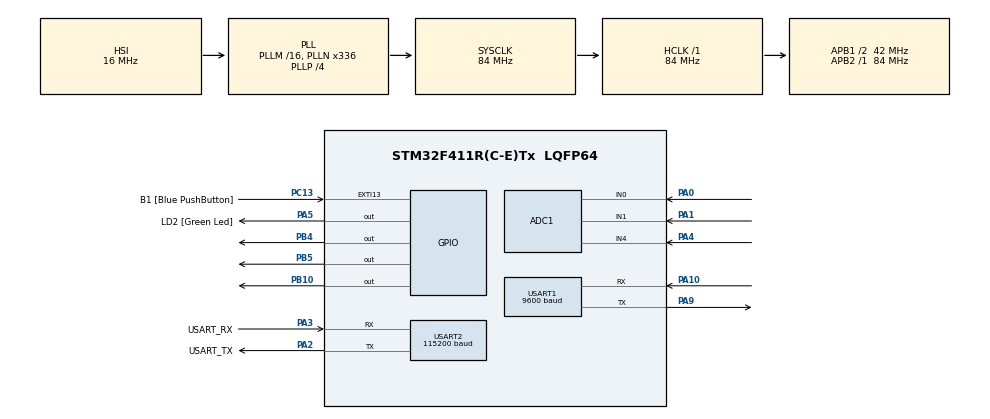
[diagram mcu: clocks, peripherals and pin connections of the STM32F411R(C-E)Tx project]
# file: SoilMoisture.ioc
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ADC1.Channel-5\#ChannelRegularConversion=ADC_CHANNEL_1
ADC1.Channel-6\#ChannelRegularConversion=ADC_CHANNEL_0
ADC1.Channel-7\#ChannelRegularConversion=ADC_CHANNEL_4
ADC1.InjNumberOfConversion=0
ADC1.NbrOfConversion=3
ADC1.NbrOfConversionFlag=1
ADC1.Rank-5\#ChannelRegularConversion=1
ADC1.Rank-6\#ChannelRegularConversion=2
ADC1.Rank-7\#ChannelRegularConversion=3
ADC1.SamplingTime-5\#ChannelRegularConversion=ADC_SAMPLETIME_3CYCLES
ADC1.SamplingTime-6\#ChannelRegularConversion=ADC_SAMPLETIME_3CYCLES
ADC1.SamplingTime-7\#ChannelRegularConversion=ADC_SAMPLETIME_3CYCLES
ADC1.master=1
Mcu.Family=STM32F4
Mcu.Name=STM32F411R(C-E)Tx
Mcu.Package=LQFP64
NVIC.PriorityGroup=NVIC_PRIORITYGROUP_0
PA0-WKUP.Signal=ADCx_IN0
PA1.Signal=ADCx_IN1
PA10.Mode=Asynchronous
PA10.Signal=USART1_RX
PA13.GPIO_Label=TMS
PA13.Mode=Serial_Wire
PA13.Signal=SYS_JTMS-SWDIO
PA14.GPIO_Label=TCK
PA14.Mode=Serial_Wire
PA14.Signal=SYS_JTCK-SWCLK
PA2.GPIO_Label=USART_TX
PA2.Mode=Asynchronous
PA2.Signal=USART2_TX
PA3.GPIO_Label=USART_RX
PA3.Mode=Asynchronous
PA3.Signal=USART2_RX
PA4.Signal=ADCx_IN4
PA5.GPIO_Label=LD2 [Green Led]
PA5.Signal=GPIO_Output
PA9.Mode=Asynchronous
PA9.Signal=USART1_TX
PB10.Signal=GPIO_Output
PB3.GPIO_Label=SWO
PB3.Signal=SYS_JTDO-SWO
PB4.Signal=GPIO_Output
PB5.Signal=GPIO_Output
PC13-ANTI_TAMP.GPIO_Label=B1 [Blue PushButton]
PC13-ANTI_TAMP.GPIO_ModeDefaultEXTI=GPIO_MODE_IT_FALLING
PC13-ANTI_TAMP.Signal=GPXTI13
PC14-OSC32_IN.Mode=LSE-External-Oscillator
PC14-OSC32_IN.Signal=RCC_OSC32_IN
PC15-OSC32_OUT.Mode=LSE-External-Oscillator
PC15-OSC32_OUT.Signal=RCC_OSC32_OUT
PH0\ -\ OSC_IN.Mode=HSE-External-Clock-Source
PH0\ -\ OSC_IN.Signal=RCC_OSC_IN
PH1\ -\ OSC_OUT.Mode=HSE-External-Clock-Source
PH1\ -\ OSC_OUT.Signal=RCC_OSC_OUT
ProjectManager.HeapSize=0x200
ProjectManager.StackSize=0x400
ProjectManager.TargetToolchain=STM32CubeIDE
RCC.48MHZClocksFreq_Value=84000000
RCC.AHBFreq_Value=84000000
RCC.APB1CLKDivider=RCC_HCLK_DIV2
RCC.APB1Freq_Value=42000000
RCC.APB1TimFreq_Value=84000000
RCC.APB2Freq_Value=84000000
RCC.APB2TimFreq_Value=84000000
RCC.CortexFreq_Value=84000000
RCC.FLatency-AdvancedSettings=FLASH_LATENCY_2
RCC.HCLKFreq_Value=84000000
RCC.HSE_VALUE=8000000
RCC.HSI_VALUE=16000000
RCC.PLLN=336
RCC.PLLP=RCC_PLLP_DIV4
RCC.SYSCLKFreq_VALUE=84000000
RCC.SYSCLKSource=RCC_SYSCLKSOURCE_PLLCLK
RCC.VCOOutputFreq_Value=336000000
SH.ADCx_IN0.0=ADC1_IN0,IN0
SH.ADCx_IN1.0=ADC1_IN1,IN1
SH.ADCx_IN4.0=ADC1_IN4,IN4
TIM1.Prescaler=84-1
USART1.BaudRate=9600
USART1.VirtualMode=VM_ASYNC
USART2.BaudRate=115200
USART2.VirtualMode=VM_ASYNC
VP_TIM1_VS_ClockSourceINT.Mode=Internal
board=NUCLEO-F411RE

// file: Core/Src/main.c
/* USER CODE BEGIN Header */
/**
  ******************************************************************************
  * @file           : main.c
  * @brief          : Main program body
  ******************************************************************************
  * @attention
  *
  * Copyright (c) 2022 STMicroelectronics.
  * All rights reserved.
  *
  * This software is licensed under terms that can be found in the LICENSE file
  * in the root directory of this software component.
  * If no LICENSE file comes with this software, it is provided AS-IS.
  *
  ******************************************************************************
  */
/* USER CODE END Header */
#include "main.h"

ADC_HandleTypeDef hadc1;

TIM_HandleTypeDef htim1;

UART_HandleTypeDef huart1;
UART_HandleTypeDef huart2;

void SystemClock_Config(void);
static void MX_GPIO_Init(void);
static void MX_USART2_UART_Init(void);
static void MX_ADC1_Init(void);
static void MX_TIM1_Init(void);
static void MX_USART1_UART_Init(void);

/* USER CODE BEGIN 0 */
uint8_t h_byte1, h_byte2, t_byte1, t_byte2;
uint16_t sum,h,t;
int adcval, soil, water;
/*float temp;
float humid;
uint8_t pres = 0;
#define DHT11_PORT GPIOA
#define DHT11_PIN GPIO_PIN_0*/

void delay(uint16_t time){
	__HAL_TIM_SET_COUNTER(&htim1,0);
	while(__HAL_TIM_GET_COUNTER(&htim1) < time);
}

void Set_Pin_Output(GPIO_TypeDef *GPIOx, uint16_t GPIO_Pin){
	GPIO_InitTypeDef GPIO_InitStruct = {0};
	GPIO_InitStruct.Pin = GPIO_Pin;
	GPIO_InitStruct.Mode = GPIO_MODE_OUTPUT_PP;
	GPIO_InitStruct.Speed = GPIO_SPEED_FREQ_LOW;
	HAL_GPIO_Init(GPIOx, &GPIO_InitStruct);
}

void Set_Pin_Input (GPIO_TypeDef *GPIOx, uint16_t GPIO_Pin){
	GPIO_InitTypeDef GPIO_InitStruct = {0};
	GPIO_InitStruct.Pin = GPIO_Pin;
	GPIO_InitStruct.Mode = GPIO_MODE_INPUT;
	GPIO_InitStruct.Pull = GPIO_PULLUP;
	HAL_GPIO_Init(GPIOx, &GPIO_InitStruct);
}

void ADC_Select_CH0 (void)
{
	ADC_ChannelConfTypeDef sConfig = {0};
	  /** Configure for the selected ADC regular channel its corresponding rank in the sequencer and its sample time.
	  */
	  sConfig.Channel = ADC_CHANNEL_0;
	  sConfig.Rank = 1;
	  sConfig.SamplingTime = ADC_SAMPLETIME_28CYCLES;
	  if (HAL_ADC_ConfigChannel(&hadc1, &sConfig) != HAL_OK)
	  {
	    Error_Handler();
	  }
}

void ADC_Select_CH1 (void)
{
	ADC_ChannelConfTypeDef sConfig = {0};
	  /** Configure for the selected ADC regular channel its corresponding rank in the sequencer and its sample time.
	  */
	  sConfig.Channel = ADC_CHANNEL_1;
	  sConfig.Rank = 1;
	  sConfig.SamplingTime = ADC_SAMPLETIME_84CYCLES;
	  if (HAL_ADC_ConfigChannel(&hadc1, &sConfig) != HAL_OK)
	  {
	    Error_Handler();
	  }
}

void ADC_Select_CH4 (void)
{
	ADC_ChannelConfTypeDef sConfig = {0};
	  /** Configure for the selected ADC regular channel its corresponding rank in the sequencer and its sample time.
	  */
	  sConfig.Channel = ADC_CHANNEL_4;
	  sConfig.Rank = 1;
	  sConfig.SamplingTime = ADC_SAMPLETIME_84CYCLES;
	  if (HAL_ADC_ConfigChannel(&hadc1, &sConfig) != HAL_OK)
	  {
	    Error_Handler();
	  }
}

/* USER CODE END 0 */

int main(void)
{

  /* MCU Configuration--------------------------------------------------------*/

  /* Reset of all peripherals, Initializes the Flash interface and the Systick. */
  HAL_Init();

  /* Configure the system clock */
  SystemClock_Config();

  /* Initialize all configured peripherals */
  MX_GPIO_Init();
  MX_USART2_UART_Init();
  MX_ADC1_Init();
  MX_TIM1_Init();
  MX_USART1_UART_Init();
  /* USER CODE BEGIN 2 */
  uint64_t ADCValue;
  float ADCpercent;
  HAL_TIM_Base_Start_IT(&htim1);
  int counter=0;
  /* USER CODE END 2 */

  /* Infinite loop */
  while (1)
  {

    /* USER CODE BEGIN 3 */
	  char buffer[90];
	  HAL_ADC_Start(&hadc1);

	  ADC_Select_CH0();
	      HAL_ADC_Start(&hadc1);

	      if(HAL_ADC_PollForConversion(&hadc1, 1000) == HAL_OK)
	      {
	        adcval = HAL_ADC_GetValue(&hadc1);
	      }
	      HAL_ADC_Stop(&hadc1);

	      // Sensor Soil
	   ADC_Select_CH4();
	      HAL_ADC_Start(&hadc1);

	      if(HAL_ADC_PollForConversion(&hadc1, 1000) == HAL_OK)
	      {
	        soil = HAL_ADC_GetValue(&hadc1);
	      }
	      HAL_ADC_Stop(&hadc1);
	      //water

	      ADC_Select_CH1();
	   	      HAL_ADC_Start(&hadc1);

	   	      if(HAL_ADC_PollForConversion(&hadc1, 1000) == HAL_OK)
	   	      {
	   	        water = HAL_ADC_GetValue(&hadc1);
	   	      }
	   	      HAL_ADC_Stop(&hadc1);

	   	      int x = soil - water*100 + adcval /1000;

	      //------//
	  /*if (HAL_ADC_PollForConversion(&hadc1, 1000000) == HAL_OK)
	      {
	          ADCValue = HAL_ADC_GetValue(&hadc1);

	          ADCpercent = 0.02528;
	          ADCpercent = -(float)(ADCValue)*ADCpercent+112.4;

		   }

	  	  // LDR
	  	//HAL_ADC_Start(&hadc1);
	  	 int adcval = 0;
	  	 if(HAL_ADC_PollForConversion(&hadc1,1000)==HAL_OK){
	  		 adcval = HAL_ADC_GetValue(&hadc1);
	  	 }*/

	  	 	 //{"soil":50,"humidity":100,"light":200}
	  	  //sprintf(buffer, "soi : %.1f temp : %.1f humid : %.1f  light : %.1f \r\n ",ADCpercent,temp,humid,adcval);
	  	 //sprintf(buffer, "soi:%.1f temp : %.1f humid : %.1f  light : %.1f \r\n ",ADCpercent,temp,humid,adcval);
	  	sprintf(buffer, "{\"soil\":%d,\"humidity\":%d,\"light\":%d}$",soil,water,adcval);
	  	if(counter==0){
	  	//HAL_UART_Transmit(&huart2, &buffer, strlen(buffer), HAL_MAX_DELAY);
	  	HAL_UART_Transmit(&huart1, &buffer, strlen(buffer), 1000);
	  	HAL_Delay(100);
	  	}
	  	//else{
	  	else if( x < 1300 && counter == 5){
	  			   	    	  HAL_GPIO_WritePin(GPIOB, GPIO_PIN_10,GPIO_PIN_SET );
	  			   	    	HAL_GPIO_WritePin(GPIOB, GPIO_PIN_4,GPIO_PIN_RESET );
	  			   	    	HAL_GPIO_WritePin(GPIOB, GPIO_PIN_5,GPIO_PIN_RESET );
	  			   	    	//HAL_UART_Transmit(&huart2, "1$", strlen("1$"), HAL_MAX_DELAY);
	  			   	    	HAL_UART_Transmit(&huart1, "1$", strlen("1$"), 1000);
	  			   	    	HAL_Delay(100);
	  			   	      }
	  			   	      else if(x>=1300 && counter == 5){

	  			   	    	HAL_GPIO_WritePin(GPIOB, GPIO_PIN_10,GPIO_PIN_RESET );
	  			   	    	HAL_GPIO_WritePin(GPIOB, GPIO_PIN_4,GPIO_PIN_RESET );
	  			   	    	HAL_GPIO_WritePin(GPIOB, GPIO_PIN_5,GPIO_PIN_SET );
	  			   	    	//HAL_UART_Transmit(&huart2, "0$", strlen("0$"), HAL_MAX_DELAY);
	  			   	    	HAL_UART_Transmit(&huart1, "0$", strlen("0$"), 1000);
	  			   	    	HAL_Delay(100);
	  			   	      }
	  	//}
	  	counter++;
	  	if(counter>=10)counter=0;
	  	HAL_Delay(1000);

  }
  /* USER CODE END 3 */
}

void SystemClock_Config(void)
{
  RCC_OscInitTypeDef RCC_OscInitStruct = {0};
  RCC_ClkInitTypeDef RCC_ClkInitStruct = {0};

  /** Configure the main internal regulator output voltage
  */
  __HAL_RCC_PWR_CLK_ENABLE();
  __HAL_PWR_VOLTAGESCALING_CONFIG(PWR_REGULATOR_VOLTAGE_SCALE1);

  /** Initializes the RCC Oscillators according to the specified parameters
  * in the RCC_OscInitTypeDef structure.
  */
  RCC_OscInitStruct.OscillatorType = RCC_OSCILLATORTYPE_HSI;
  RCC_OscInitStruct.HSIState = RCC_HSI_ON;
  RCC_OscInitStruct.HSICalibrationValue = RCC_HSICALIBRATION_DEFAULT;
  RCC_OscInitStruct.PLL.PLLState = RCC_PLL_ON;
  RCC_OscInitStruct.PLL.PLLSource = RCC_PLLSOURCE_HSI;
  RCC_OscInitStruct.PLL.PLLM = 16;
  RCC_OscInitStruct.PLL.PLLN = 336;
  RCC_OscInitStruct.PLL.PLLP = RCC_PLLP_DIV4;
  RCC_OscInitStruct.PLL.PLLQ = 4;
  if (HAL_RCC_OscConfig(&RCC_OscInitStruct) != HAL_OK)
  {
    Error_Handler();
  }

  /** Initializes the CPU, AHB and APB buses clocks
  */
  RCC_ClkInitStruct.ClockType = RCC_CLOCKTYPE_HCLK|RCC_CLOCKTYPE_SYSCLK
                              |RCC_CLOCKTYPE_PCLK1|RCC_CLOCKTYPE_PCLK2;
  RCC_ClkInitStruct.SYSCLKSource = RCC_SYSCLKSOURCE_PLLCLK;
  RCC_ClkInitStruct.AHBCLKDivider = RCC_SYSCLK_DIV1;
  RCC_ClkInitStruct.APB1CLKDivider = RCC_HCLK_DIV2;
  RCC_ClkInitStruct.APB2CLKDivider = RCC_HCLK_DIV1;

  if (HAL_RCC_ClockConfig(&RCC_ClkInitStruct, FLASH_LATENCY_2) != HAL_OK)
  {
    Error_Handler();
  }
}

static void MX_ADC1_Init(void)
{

  ADC_ChannelConfTypeDef sConfig = {0};

  /** Configure the global features of the ADC (Clock, Resolution, Data Alignment and number of conversion)
  */
  hadc1.Instance = ADC1;
  hadc1.Init.ClockPrescaler = ADC_CLOCK_SYNC_PCLK_DIV4;
  hadc1.Init.Resolution = ADC_RESOLUTION_12B;
  hadc1.Init.ScanConvMode = ENABLE;
  hadc1.Init.ContinuousConvMode = DISABLE;
  hadc1.Init.DiscontinuousConvMode = DISABLE;
  hadc1.Init.ExternalTrigConvEdge = ADC_EXTERNALTRIGCONVEDGE_NONE;
  hadc1.Init.ExternalTrigConv = ADC_SOFTWARE_START;
  hadc1.Init.DataAlign = ADC_DATAALIGN_RIGHT;
  hadc1.Init.NbrOfConversion = 3;
  hadc1.Init.DMAContinuousRequests = DISABLE;
  hadc1.Init.EOCSelection = ADC_EOC_SINGLE_CONV;
  if (HAL_ADC_Init(&hadc1) != HAL_OK)
  {
    Error_Handler();
  }

  /** Configure for the selected ADC regular channel its corresponding rank in the sequencer and its sample time.
  */
  sConfig.Channel = ADC_CHANNEL_1;
  sConfig.Rank = 1;
  sConfig.SamplingTime = ADC_SAMPLETIME_3CYCLES;
  if (HAL_ADC_ConfigChannel(&hadc1, &sConfig) != HAL_OK)
  {
    Error_Handler();
  }

  /** Configure for the selected ADC regular channel its corresponding rank in the sequencer and its sample time.
  */
  sConfig.Channel = ADC_CHANNEL_0;
  sConfig.Rank = 2;
  if (HAL_ADC_ConfigChannel(&hadc1, &sConfig) != HAL_OK)
  {
    Error_Handler();
  }

  /** Configure for the selected ADC regular channel its corresponding rank in the sequencer and its sample time.
  */
  sConfig.Channel = ADC_CHANNEL_4;
  sConfig.Rank = 3;
  if (HAL_ADC_ConfigChannel(&hadc1, &sConfig) != HAL_OK)
  {
    Error_Handler();
  }

}

static void MX_TIM1_Init(void)
{

  TIM_ClockConfigTypeDef sClockSourceConfig = {0};
  TIM_MasterConfigTypeDef sMasterConfig = {0};

  htim1.Instance = TIM1;
  htim1.Init.Prescaler = 84-1;
  htim1.Init.CounterMode = TIM_COUNTERMODE_UP;
  htim1.Init.Period = 65535;
  htim1.Init.ClockDivision = TIM_CLOCKDIVISION_DIV1;
  htim1.Init.RepetitionCounter = 0;
  htim1.Init.AutoReloadPreload = TIM_AUTORELOAD_PRELOAD_DISABLE;
  if (HAL_TIM_Base_Init(&htim1) != HAL_OK)
  {
    Error_Handler();
  }
  sClockSourceConfig.ClockSource = TIM_CLOCKSOURCE_INTERNAL;
  if (HAL_TIM_ConfigClockSource(&htim1, &sClockSourceConfig) != HAL_OK)
  {
    Error_Handler();
  }
  sMasterConfig.MasterOutputTrigger = TIM_TRGO_RESET;
  sMasterConfig.MasterSlaveMode = TIM_MASTERSLAVEMODE_DISABLE;
  if (HAL_TIMEx_MasterConfigSynchronization(&htim1, &sMasterConfig) != HAL_OK)
  {
    Error_Handler();
  }

}

static void MX_USART1_UART_Init(void)
{

  huart1.Instance = USART1;
  huart1.Init.BaudRate = 9600;
  huart1.Init.WordLength = UART_WORDLENGTH_8B;
  huart1.Init.StopBits = UART_STOPBITS_1;
  huart1.Init.Parity = UART_PARITY_NONE;
  huart1.Init.Mode = UART_MODE_TX_RX;
  huart1.Init.HwFlowCtl = UART_HWCONTROL_NONE;
  huart1.Init.OverSampling = UART_OVERSAMPLING_16;
  if (HAL_UART_Init(&huart1) != HAL_OK)
  {
    Error_Handler();
  }

}

static void MX_USART2_UART_Init(void)
{

  huart2.Instance = USART2;
  huart2.Init.BaudRate = 115200;
  huart2.Init.WordLength = UART_WORDLENGTH_8B;
  huart2.Init.StopBits = UART_STOPBITS_1;
  huart2.Init.Parity = UART_PARITY_NONE;
  huart2.Init.Mode = UART_MODE_TX_RX;
  huart2.Init.HwFlowCtl = UART_HWCONTROL_NONE;
  huart2.Init.OverSampling = UART_OVERSAMPLING_16;
  if (HAL_UART_Init(&huart2) != HAL_OK)
  {
    Error_Handler();
  }

}

static void MX_GPIO_Init(void)
{
  GPIO_InitTypeDef GPIO_InitStruct = {0};

  /* GPIO Ports Clock Enable */
  __HAL_RCC_GPIOC_CLK_ENABLE();
  __HAL_RCC_GPIOH_CLK_ENABLE();
  __HAL_RCC_GPIOA_CLK_ENABLE();
  __HAL_RCC_GPIOB_CLK_ENABLE();

  /*Configure GPIO pin Output Level */
  HAL_GPIO_WritePin(LD2_GPIO_Port, LD2_Pin, GPIO_PIN_RESET);

  /*Configure GPIO pin Output Level */
  HAL_GPIO_WritePin(GPIOB, GPIO_PIN_10|GPIO_PIN_4|GPIO_PIN_5, GPIO_PIN_RESET);

  /*Configure GPIO pin : B1_Pin */
  GPIO_InitStruct.Pin = B1_Pin;
  GPIO_InitStruct.Mode = GPIO_MODE_IT_FALLING;
  GPIO_InitStruct.Pull = GPIO_NOPULL;
  HAL_GPIO_Init(B1_GPIO_Port, &GPIO_InitStruct);

  /*Configure GPIO pin : LD2_Pin */
  GPIO_InitStruct.Pin = LD2_Pin;
  GPIO_InitStruct.Mode = GPIO_MODE_OUTPUT_PP;
  GPIO_InitStruct.Pull = GPIO_NOPULL;
  GPIO_InitStruct.Speed = GPIO_SPEED_FREQ_LOW;
  HAL_GPIO_Init(LD2_GPIO_Port, &GPIO_InitStruct);

  /*Configure GPIO pins : PB10 PB4 PB5 */
  GPIO_InitStruct.Pin = GPIO_PIN_10|GPIO_PIN_4|GPIO_PIN_5;
  GPIO_InitStruct.Mode = GPIO_MODE_OUTPUT_PP;
  GPIO_InitStruct.Pull = GPIO_NOPULL;
  GPIO_InitStruct.Speed = GPIO_SPEED_FREQ_LOW;
  HAL_GPIO_Init(GPIOB, &GPIO_InitStruct);

}

void Error_Handler(void)
{
  __disable_irq();
  while (1)
  {
  }
}
